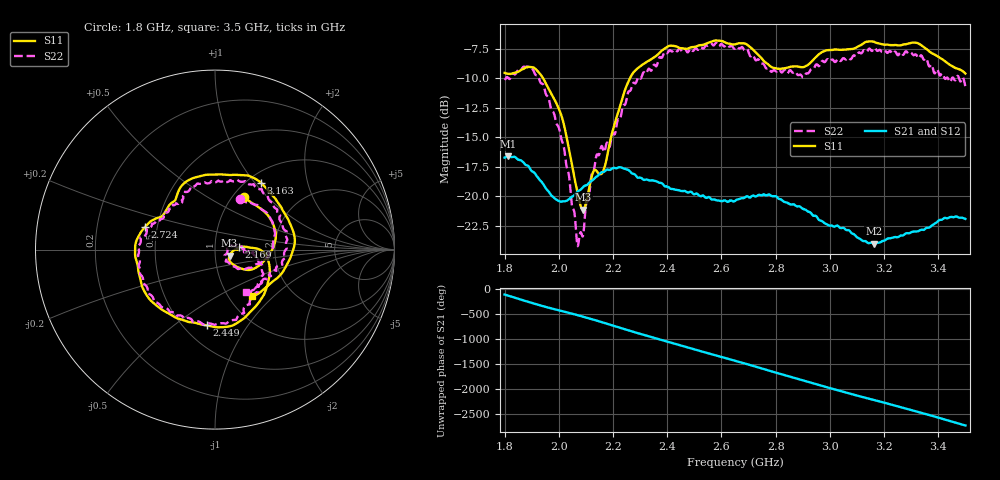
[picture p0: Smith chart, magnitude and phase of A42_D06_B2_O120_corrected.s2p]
! Created with skrf 1.9.0 (http://scikit-rf.org).
# Hz S RI R 50.0
!freq ReS11 ImS11 ReS21 ImS21 ReS12 ImS12 ReS22 ImS22
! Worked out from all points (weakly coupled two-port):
!   1601 points, 1.8 GHz to 3.5 GHz, reference 50 ohm
!   highest |S21| = -16.62 dB at 1.812 GHz (marker M1); lowest = -24.0 dB at 3.162 GHz (marker M2)
!   lowest |S11| = -21.1 dB at 2.09 GHz (marker M3), VSWR 1.19, Z = 58.7 - j3.95 ohm
!   |S11| at or under -10 dB: 1.942 GHz to 2.262 GHz (319.9 MHz wide, 15.2 % of centre)
!   |S22| runs from -24.2 to -7.0 dB; largest |S21 - S12| = 0.0024
!   S11 on the Smith chart (normalised r, x): 1.8 GHz: 1.13, +0.74; 2.169 GHz: 1.30, +0.03; 2.449 GHz: 0.64, -0.66; 2.724 GHz: 0.43, +0.13; 3.163 GHz: 1.15, +1.08; 3.5 GHz: 1.29, -0.74
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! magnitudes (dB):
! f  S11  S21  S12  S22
! 1.8 GHz  -9.5  -16.7  -16.7  -10.1
! 1.812 GHz  -9.6  -16.6  -16.6  -9.9
! 1.882 GHz  -9.1  -17.4  -17.4  -9.0
! 1.942 GHz  -10.0  -19.0  -19.0  -10.5
! 2.011 GHz  -13.3  -20.4  -20.4  -15.3
! 2.067 GHz  -19.5  -19.7  -19.7  -23.9
! 2.084 GHz  -21.0  -19.4  -19.3  -23.2
! 2.09 GHz  -21.1  -19.2  -19.2  -23.3
! 2.133 GHz  -17.8  -18.5  -18.5  -17.4
! 2.169 GHz  -17.5  -17.9  -17.9  -16.2
! 2.26 GHz  -10.1  -17.8  -17.8  -11.1
! 2.367 GHz  -7.9  -18.8  -18.8  -8.4
! 2.449 GHz  -7.4  -19.5  -19.5  -7.5
! 2.65 GHz  -7.1  -20.4  -20.4  -7.5
! 2.724 GHz  -7.7  -20.0  -20.0  -8.4
! 2.803 GHz  -9.2  -20.0  -20.1  -9.4
! 2.934 GHz  -8.5  -21.5  -21.5  -9.2
! 3.162 GHz  -6.9  -24.0  -24.0  -7.5
! 3.163 GHz  -6.9  -24.0  -24.0  -7.4
! 3.217 GHz  -7.2  -23.6  -23.5  -7.7
! 3.324 GHz  -7.0  -23.0  -22.9  -8.2
! 3.5 GHz  -9.6  -21.9  -21.9  -10.7
